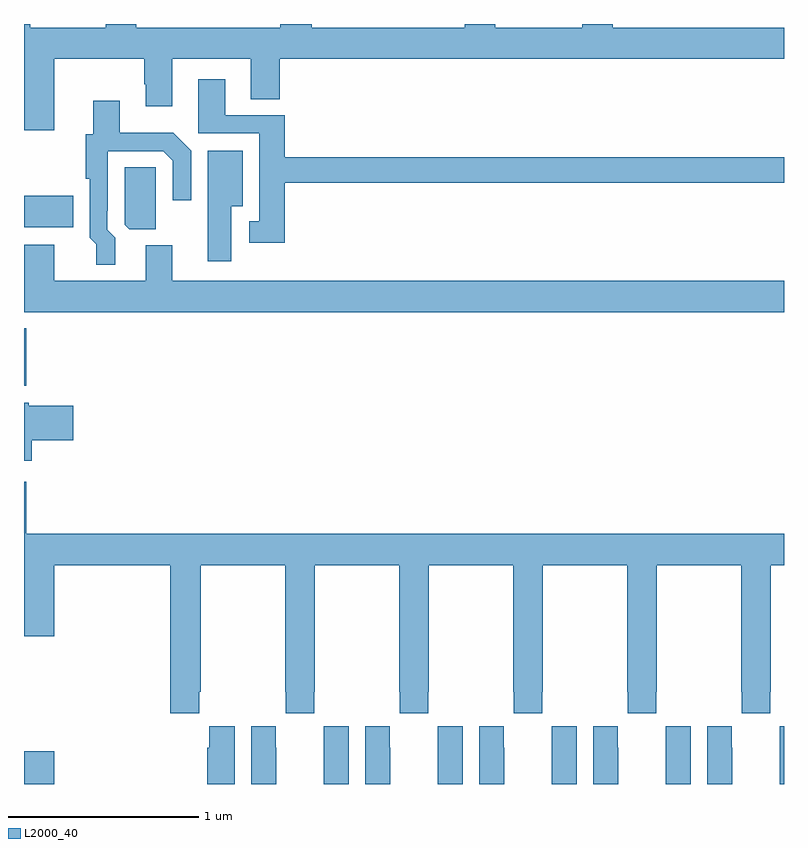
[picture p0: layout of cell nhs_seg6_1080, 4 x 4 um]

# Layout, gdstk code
import gdstk
lib = gdstk.Library(unit=1e-6, precision=1e-09)
def R(c, l, rs):  # rectangles x0, y0, x1, y1
    for r in rs: c.add(gdstk.rectangle(r[:2], r[2:], *l))
def P(c, l, *ps):  # polygons
    for p in ps: c.add(gdstk.Polygon(p, *l))
L2000_40 = (2000, 40)

nhs_seg6_1080 = lib.new_cell('nhs_seg6_1080')
R(nhs_seg6_1080, L2000_40, [(177,963.5,177.16,963.673), (177,965.595,177.011,965.899), (177,966.431,177.259,966.597)])
P(nhs_seg6_1080, L2000_40, [(177.16,967.316),(177.634,967.316),(177.634,967.183),(177.641,967.183),(177.641,967.068),(177.781,967.068),(177.781,967.316),(178.193,967.316),(178.193,967.105),(178.346,967.105),(178.346,967.316),(181,967.316),(181,967.48),(180.098,967.48),(180.098,967.5),(179.938,967.5),(179.938,967.48),(179.481,967.48),(179.481,967.5),(179.321,967.5),(179.321,967.48),(178.514,967.48),(178.514,967.5),(178.349,967.5),(178.349,967.48),(177.59,967.48),(177.59,967.5),(177.43,967.5),(177.43,967.48),(177.033,967.48),(177.033,967.5),(177,967.5),(177,966.942),(177.16,966.942)],
  [(178.373,966.664),(181,966.664),(181,966.8),(178.373,966.8),(178.373,967.02),(178.06,967.02),(178.06,967.21),(177.917,967.21),(177.917,966.924),(178.238,966.924),(178.238,966.461),(178.185,966.461),(178.185,966.348),(178.373,966.348)],
  [(177.481,966.374),(177.438,966.417),(177.438,966.517),(177.441,966.517),(177.441,966.831),(177.732,966.831),(177.783,966.78),(177.783,966.573),(177.879,966.573),(177.879,966.834),(177.785,966.928),(177.505,966.928),(177.505,967.096),(177.365,967.096),(177.365,966.921),(177.325,966.921),(177.325,966.685),(177.345,966.685),(177.345,966.374),(177.379,966.341),(177.379,966.234),(177.481,966.234)],
  [(178.09,966.542),(178.15,966.542),(178.15,966.832),(177.968,966.832),(177.968,966.252),(178.09,966.252)],
  [(177.694,966.635),(177.693,966.635),(177.693,966.746),(177.531,966.746),(177.531,966.444),(177.555,966.421),(177.694,966.421)],
  [(181,966.148),(177.781,966.148),(177.781,966.336),(177.641,966.336),(177.641,966.148),(177.16,966.148),(177.16,966.337),(177,966.337),(177,965.984),(181,965.984)],
  [(177.041,965.309),(177.259,965.309),(177.259,965.492),(177.024,965.492),(177.024,965.506),(177,965.506),(177,965.202),(177.041,965.202)],
  [(177.923,963.985),(177.93,963.985),(177.93,964.652),(178.375,964.652),(178.375,963.985),(178.377,963.985),(178.377,963.873),(178.527,963.873),(178.527,963.985),(178.53,963.985),(178.53,964.652),(178.975,964.652),(178.975,963.985),(178.977,963.985),(178.977,963.873),(179.127,963.873),(179.127,963.985),(179.13,963.985),(179.13,964.652),(179.575,964.652),(179.575,963.985),(179.577,963.985),(179.577,963.873),(179.727,963.873),(179.727,963.985),(179.73,963.985),(179.73,964.652),(180.175,964.652),(180.175,963.985),(180.177,963.985),(180.177,963.873),(180.327,963.873),(180.327,963.985),(180.33,963.985),(180.33,964.652),(180.775,964.652),(180.775,963.985),(180.777,963.985),(180.777,963.873),(180.927,963.873),(180.927,963.985),(180.93,963.985),(180.93,964.652),(181,964.652),(181,964.816),(177.011,964.816),(177.011,965.092),(177,965.092),(177,964.278),(177.16,964.278),(177.16,964.652),(177.77,964.652),(177.77,963.873),(177.923,963.873)],
  [(181,963.805),(180.978,963.805),(180.978,963.692),(180.977,963.692),(180.977,963.5),(181,963.5)],
  [(180.727,963.692),(180.726,963.692),(180.726,963.805),(180.596,963.805),(180.596,963.5),(180.727,963.5)],
  [(180.508,963.805),(180.378,963.805),(180.378,963.692),(180.377,963.692),(180.377,963.5),(180.508,963.5)],
  [(180.127,963.692),(180.126,963.692),(180.126,963.805),(179.996,963.805),(179.996,963.5),(180.127,963.5)],
  [(179.908,963.805),(179.778,963.805),(179.778,963.692),(179.777,963.692),(179.777,963.5),(179.908,963.5)],
  [(179.527,963.692),(179.526,963.692),(179.526,963.805),(179.396,963.805),(179.396,963.5),(179.527,963.5)],
  [(178.927,963.692),(178.926,963.692),(178.926,963.805),(178.796,963.805),(178.796,963.5),(178.927,963.5)],
  [(178.708,963.805),(178.578,963.805),(178.578,963.692),(178.577,963.692),(178.577,963.5),(178.708,963.5)],
  [(178.327,963.692),(178.326,963.692),(178.326,963.805),(178.196,963.805),(178.196,963.5),(178.327,963.5)],
  [(178.108,963.805),(177.974,963.805),(177.974,963.692),(177.965,963.692),(177.965,963.5),(178.108,963.5)],
  [(179.308,963.805),(179.178,963.805),(179.178,963.692),(179.177,963.692),(179.177,963.5),(179.308,963.5)])

lib.write_gds('nhs_seg6_1080.gds')
